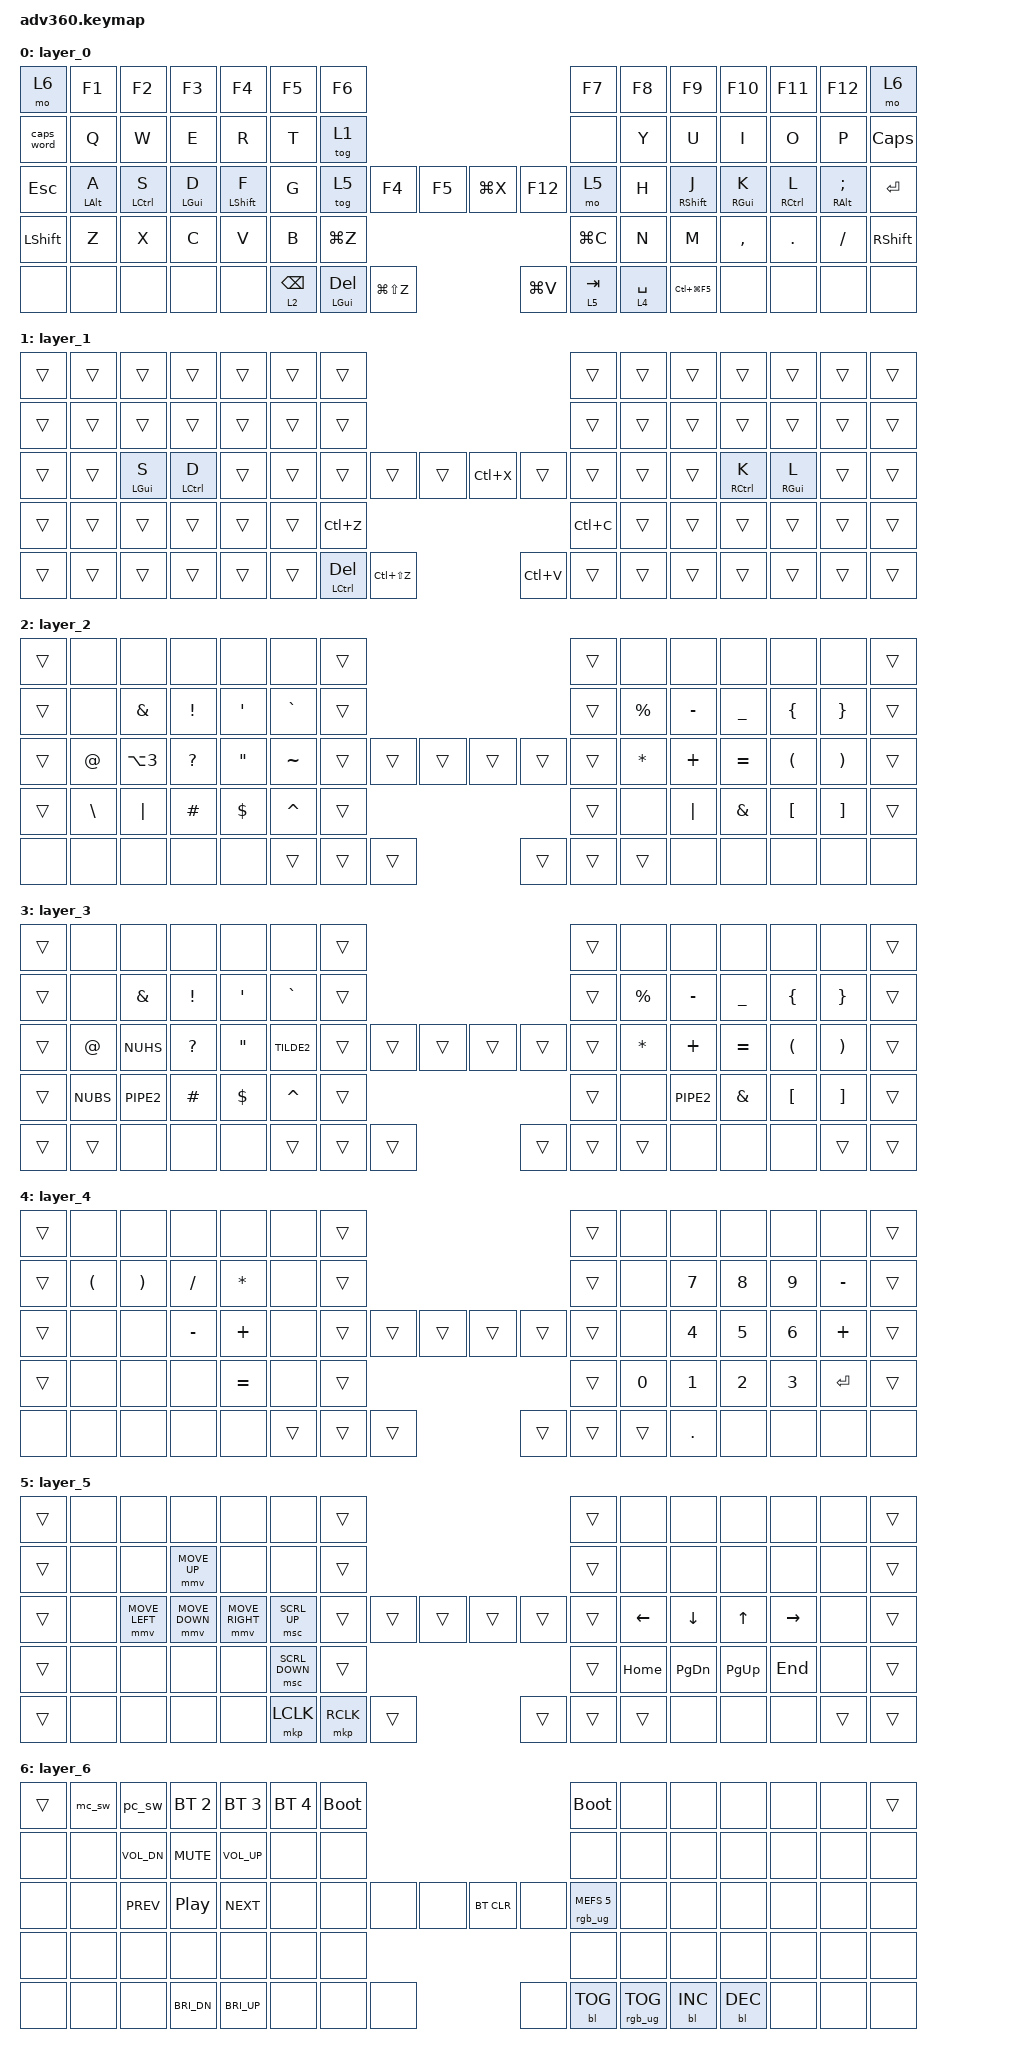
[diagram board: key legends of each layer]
#include <behaviors.dtsi>
#include <dt-bindings/zmk/keys.h>
#include <dt-bindings/zmk/bt.h>
#include <dt-bindings/zmk/rgb.h>
#include <dt-bindings/zmk/stp.h>
#include <dt-bindings/zmk/backlight.h>
#include <dt-bindings/zmk/pointing.h>

#define MC_HASH LA(N3)
#define SC_FLL LC(LA(RET))
#define SC_LFT LC(LA(LEFT))
#define SC_RGT LC(LA(RIGHT))

#define KEYS_LEFT 0 1 2 3 4 5 6 \
                  14 15 16 17 18 19 20 \
                  28 29 30 31 32 33 34 \
                  46 47 48 49 50 51 \
                  66 67 68 69 70

#define KEYS_RIGHT 7 8 9 10 11 12 13 \
                   21 22 23 24 25 26 27 \
                   39 40 41 42 43 44 45 \
                   60 61 62 63 64 65 \
                   77 78 79 80 81

#define THUMBS_LEFT 35 36 54 71 72 73
#define THUMBS_RIGHT 37 38 57 74 75 76
#define THUMBS THUMBS_LEFT THUMBS_RIGHT

&caps_word {
    continue-list = <UNDERSCORE MINUS BACKSPACE DELETE>;
};

/ {
    behaviors {
      #include "macros.dtsi"
      #include "version.dtsi"

    tlm: thumb_layer_mods {
        compatible = "zmk,behavior-hold-tap";
        label = "THUMB_LAYER_MODS";
        #binding-cells = <2>;
        flavor = "balanced";
        tapping-term-ms = <200>;
        quick_tap_ms = <175>;
        bindings = <&mo>, <&kp>;
    };

    hml: homerow_mods_left {
        compatible = "zmk,behavior-hold-tap";
        label = "HOMEROW_MODS_LEFT";
        #binding-cells = <2>;
        flavor = "balanced";
        tapping-term-ms = <200>;
        quick_tap_ms = <175>;
        hold-trigger-key-positions = <KEYS_RIGHT THUMBS>;
        bindings = <&kp>, <&kp>;
    };

    hmr: homerow_mods_right {
        compatible = "zmk,behavior-hold-tap";
        label = "HOMEROW_MODS_RIGHT";
        #binding-cells = <2>;
        flavor = "balanced";
        tapping-term-ms = <200>;
        quick_tap_ms = <175>;
        hold-trigger-key-positions = <KEYS_LEFT THUMBS>;
        bindings = <&kp>, <&kp>;
    };
    tmr: thumbrow_mods {
        compatible = "zmk,behavior-hold-tap";
        label = "THUMBROW_MODS";
        #binding-cells = <2>;
        flavor = "balanced";
        tapping-term-ms = <200>;
        quick_tap_ms = <175>;
        bindings = <&kp>, <&kp>;
    };

    conditional_layers {
        compatible = "zmk,conditional-layers";
        tri_layer {
            if-layers = <1 2>;
            then-layer = <3>;
        };
    };

    macros {
        mc_sw: mc_sw {
            label = "MAC_SWITCH";
            compatible = "zmk,behavior-macro";
            #binding-cells = <0>;
            bindings
                = <&bt BT_SEL 0>
                , <&to 0>
                ; // return to mac base layer
        };
        pc_sw: pc_sw {
            label = "PC_SWITCH";
            compatible = "zmk,behavior-macro";
            #binding-cells = <0>;
            bindings
                = <&bt BT_SEL 1>
                , <&to 1>
                ; // enable pc overlay layer
        };
    };
    extra1 {
      display-name = "Red";
      status = "reserved";
    };

    extra2 {
      display-name = "Purple";
      status = "reserved";
    };

    extra3 {
      display-name = "Cyan";
      status = "reserved";
    };

    extra4 {
      display-name = "Yellow";
      status = "reserved";
    };
  };

    keymap {
        compatible = "zmk,keymap";

layer_0 {
  bindings = <
    &mo 6      &kp F1     &kp F2      &kp F3      &kp F4      &kp F5     &kp F6                                                             &kp F7      &kp F8       &kp F9      &kp F10     &kp F11    &kp F12       &mo 6
    &caps_word &kp Q      &kp W       &kp E       &kp R       &kp T      &tog 1                                                             &none       &kp Y        &kp U       &kp I       &kp O      &kp P         &kp CAPS
    &kp ESC   &hml LALT A &hml LCTRL S &hml LGUI D &hml LSHFT F &kp G    &tog 5          &kp F4     &kp F5      &kp LG(X)   &kp F12         &mo 5       &kp H   &hmr RSHFT J &hmr RGUI K &hmr RCTRL L &hmr RALT SEMI &kp RET
    &kp LSHFT  &kp Z      &kp X       &kp C       &kp V       &kp B                                 &kp LG(Z)   &kp LG(C)                               &kp N        &kp M    &kp COMMA   &kp DOT    &kp FSLH      &kp RSHFT
    &none      &none      &none       &none       &none               &tlm 2 BSPC &tmr LGUI DEL &kp LG(LS(Z)) &kp LG(V)   &tlm 5 TAB  &tlm 4 SPACE               &kp LC(LG(F5))   &none     &none      &none         &none
 >;
};
layer_1 {
  bindings = <
    &trans     &trans     &trans      &trans      &trans      &trans     &trans                                                        &trans      &trans       &trans      &trans      &trans     &trans        &trans
    &trans     &trans     &trans      &trans      &trans      &trans     &trans                                                        &trans      &trans       &trans      &trans      &trans     &trans        &trans
    &trans     &trans   &hml LGUI S &hml LCTRL D  &trans      &trans     &trans          &trans     &trans   &kp LC(X)  &trans         &trans      &trans       &trans    &hmr RCTRL K &hmr RGUI L &trans        &trans
    &trans     &trans     &trans      &trans      &trans      &trans                                &kp LC(Z)  &kp LC(C)                           &trans       &trans      &trans      &trans     &trans        &trans
    &trans     &trans     &trans      &trans      &trans                     &trans   &tmr LCTRL DEL &kp LC(LS(Z)) &kp LC(V)  &trans    &trans                   &trans      &trans      &trans     &trans        &trans
  >;
};
layer_2 {
  bindings = <
    &trans     &none      &none       &none       &none       &none      &trans                                                      &trans   &none     &none       &none       &none      &none         &trans
    &trans     &none      &kp AMPS    &kp EXCL    &kp SQT     &kp GRAVE  &trans                                                      &trans   &kp PRCNT &kp MINUS   &kp UNDER   &kp LBRC   &kp RBRC      &trans
    &trans     &kp AT     &kp MC_HASH &kp QMARK   &kp DQT     &kp TILDE  &trans          &trans     &trans   &trans  &trans          &trans   &kp STAR  &kp PLUS    &kp EQUAL   &kp LPAR   &kp RPAR      &trans
    &trans     &kp BSLH   &kp PIPE    &kp POUND   &kp DLLR    &kp CARET                             &trans   &trans                           &none     &kp PIPE    &kp AMPS    &kp LBKT   &kp RBKT      &trans
    &none      &none      &none       &none       &none                      &trans      &trans     &trans   &trans  &trans    &trans                   &none       &none       &none      &none         &none
  >;
};
layer_3 {
  bindings = <
    &trans     &none      &none       &none       &none       &none      &trans                                                      &trans   &none     &none       &none       &none      &none         &trans
    &trans     &none      &kp AMPS    &kp EXCL    &kp SQT     &kp GRAVE  &trans                                                      &trans   &kp PRCNT &kp MINUS   &kp UNDER   &kp LBRC   &kp RBRC      &trans
    &trans     &kp AT     &kp NUHS    &kp QMARK   &kp DQT     &kp TILDE2 &trans          &trans     &trans   &trans  &trans          &trans   &kp STAR  &kp PLUS    &kp EQUAL   &kp LPAR   &kp RPAR      &trans
    &trans     &kp NUBS   &kp PIPE2   &kp POUND   &kp DLLR    &kp CARET                             &trans   &trans                           &none     &kp PIPE2   &kp AMPS    &kp LBKT   &kp RBKT      &trans
    &trans     &trans     &none       &none       &none                      &trans      &trans     &trans   &trans  &trans    &trans                   &none       &none       &none      &trans        &trans
  >;
};
layer_4 {
  bindings = <
    &trans     &none      &none       &none       &none       &none      &trans                                                      &trans   &none     &none       &none       &none      &none         &trans
    &trans     &kp LPAR   &kp RPAR    &kp FSLH    &kp STAR    &none      &trans                                                      &trans   &none     &kp N7      &kp N8      &kp N9     &kp MINUS     &trans
    &trans     &none      &none       &kp MINUS   &kp PLUS    &none      &trans          &trans     &trans   &trans  &trans          &trans   &none     &kp N4      &kp N5      &kp N6     &kp PLUS      &trans
    &trans     &none      &none       &none       &kp EQUAL   &none                                 &trans   &trans                           &kp N0    &kp N1      &kp N2      &kp N3     &kp ENTER     &trans
    &none      &none      &none       &none       &none                      &trans      &trans     &trans   &trans  &trans    &trans                   &kp DOT     &none       &none      &none         &none
  >;
};
layer_5 {
  bindings = <
    &trans     &none      &none       &none          &none         &none            &trans                                                    &trans   &none     &none       &none       &none      &none        &trans
    &trans     &none      &none     &mmv MOVE_UP     &none         &none            &trans                                                    &trans   &none     &none       &none       &none      &none        &trans
    &trans     &none &mmv MOVE_LEFT &mmv MOVE_DOWN &mmv MOVE_RIGHT &msc SCRL_UP     &trans       &trans     &trans   &trans  &trans           &trans  &kp LEFT  &kp DOWN    &kp UP      &kp RIGHT  &none         &trans
    &trans     &none      &none       &none          &none         &msc SCRL_DOWN                           &trans   &trans                           &kp HOME  &kp PG_DN   &kp PG_UP   &kp END    &none         &trans
    &trans     &none      &none       &none          &none                           &mkp LCLK   &mkp RCLK  &trans   &trans  &trans    &trans                   &none       &none       &none      &trans        &trans
  >;
};
layer_6 {
  bindings = <
    &trans     &mc_sw     &pc_sw     &bt BT_SEL 2 &bt BT_SEL 3 &bt BT_SEL 4 &bootloader                                     &bootloader         &none     &none       &none       &none      &none         &trans
    &none      &none      &kp C_VOL_DN &kp C_MUTE  &kp C_VOL_UP &none       &none                                            &none              &none     &none       &none       &none      &none         &none
    &none      &none      &kp C_PREV   &kp C_PP    &kp C_NEXT   &none       &none      &none &none &bt BT_CLR &none     &rgb_ug RGB_MEFS_CMD 5  &none     &none       &none       &none      &none         &none
    &none      &none      &none        &none       &none        &none                       &none &none                                         &none     &none       &none       &none      &none         &none
    &none      &none      &none      &kp C_BRI_DN  &kp C_BRI_UP                 &none &none &none &none &bl BL_TOG &rgb_ug RGB_TOG                        &bl BL_INC  &bl BL_DEC  &none      &none         &none
  >;
};

  };
};
